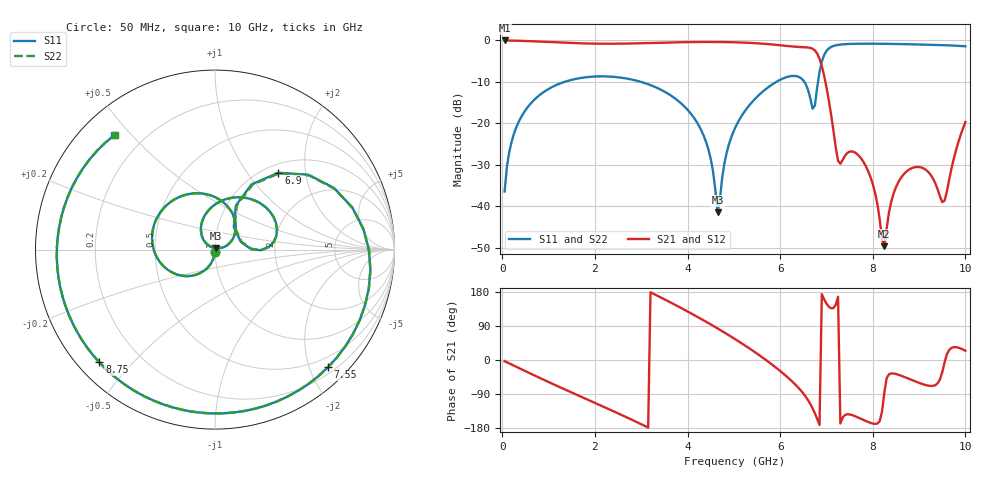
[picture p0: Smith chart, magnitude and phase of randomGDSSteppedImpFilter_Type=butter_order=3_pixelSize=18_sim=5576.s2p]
! freq	dB(S11)	phase(S11)	dB(S12)	phase(S12)
!  dB(S21)	phase(S21)	dB(S22)	phase(S22)
!S-par simulation data
#  GHz  S  DB  R 50
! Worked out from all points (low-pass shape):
!   200 points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, 50 MHz to 10 GHz, reference 50 ohm
!   highest |S21| = 0.00 dB at 50 MHz (marker M1); lowest = -49.6 dB at 8.25 GHz (marker M2)
!   |S21| within 3 dB of the highest: start of sweep to 6.789 GHz
!   lowest |S11| = -41.4 dB at 4.65 GHz (marker M3), VSWR 1.02, Z = 50.3 + j0.79 ohm
!   |S11| at or under -10 dB: start of sweep to 1.344 GHz; 2.994 GHz to 5.918 GHz (2.923 GHz wide, 65.6 % of centre); 6.521 GHz to 6.818 GHz (296.3 MHz wide, 4.44 % of centre)
!   |S22| runs from -40.4 to -0.8 dB; largest |S21 - S12| = 0
!   S11 on the Smith chart (normalised r, x): 50 MHz: 1.00, -0.03; 6.9 GHz: 1.15, +1.42; 7.55 GHz: 0.31, -2.31; 8.75 GHz: 0.06, -0.41; 10 GHz: 0.10, +0.45
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0.05  -36.45 -92.8  -0.00 -3.0  -0.00 -3.0  -36.45 -92.8
0.2  -24.48 -102.0  -0.04 -11.9  -0.04 -11.9  -24.48 -102.0
0.5  -16.84 -119.9  -0.13 -29.5  -0.13 -29.5  -16.83 -119.9
1.75  -8.97 169.8  -0.71 -99.6  -0.71 -99.6  -8.97 169.9
2.7  -9.22 117.6  -0.75 -152.1  -0.75 -152.1  -9.22 117.7
3.4  -11.75 76.7  -0.56 166.5  -0.56 166.5  -11.75 76.9
4.3  -21.76 21.9  -0.37 107.9  -0.37 107.9  -21.75 22.7
4.5  -28.54 14.5  -0.36 94.0  -0.36 94.0  -28.49 16.2
4.65  -41.43 67.7  -0.37 83.2  -0.37 83.2  -40.37 69.3
5.05  -20.59 137.4  -0.46 53.4  -0.46 53.4  -20.57 136.6
5.9  -10.11 68.9  -1.05 -19.1  -1.05 -19.1  -10.11 68.7
6.4  -8.78 18.2  -1.57 -74.0  -1.57 -74.0  -8.78 18.3
6.7  -16.48 16.5  -2.00 -127.5  -2.00 -127.5  -16.29 17.0
6.9  -5.11 50.5  -6.21 173.5  -6.21 173.5  -5.09 49.9
7.25  -1.07 -14.0  -29.04 167.0  -29.04 167.0  -1.07 -14.3
7.55  -0.83 -46.1  -26.78 -145.2  -26.78 -145.2  -0.83 -46.4
7.95  -0.78 -79.5  -32.95 -165.8  -32.95 -165.8  -0.78 -79.7
8.25  -0.81 -101.5  -49.64 -85.4  -49.64 -85.4  -0.81 -101.7
8.35  -0.83 -108.5  -41.51 -37.7  -41.51 -37.7  -0.83 -108.7
8.75  -0.91 -135.7  -31.43 -48.1  -31.43 -48.1  -0.92 -136.0
9.55  -1.15 168.4  -38.67 -6.6  -38.67 -6.6  -1.16 168.1
10  -1.42 131.4  -19.67 24.3  -19.67 24.3  -1.42 131.0
